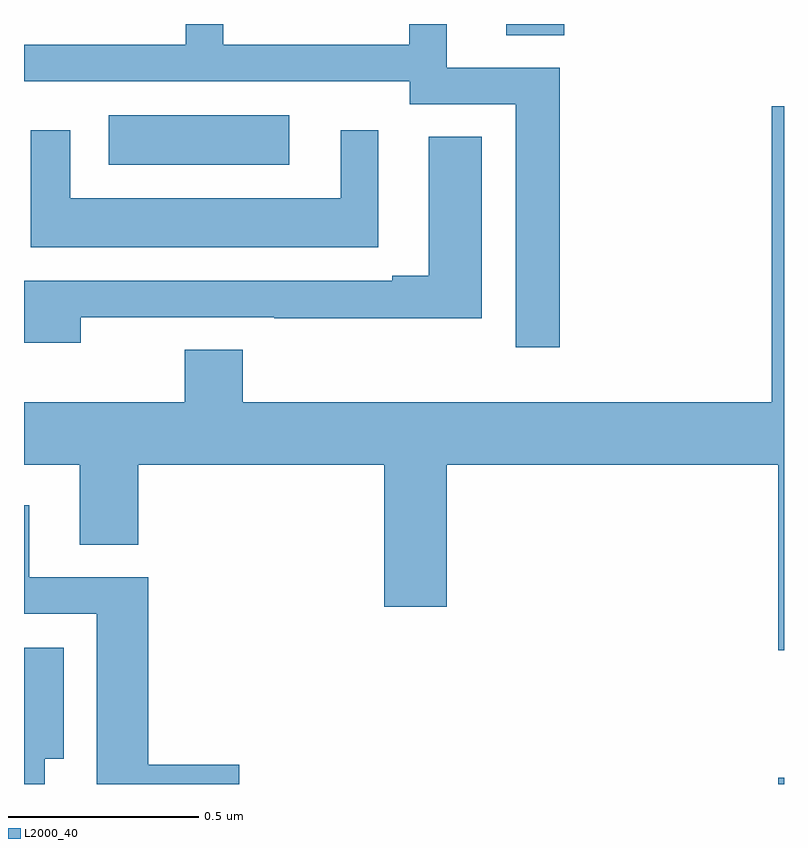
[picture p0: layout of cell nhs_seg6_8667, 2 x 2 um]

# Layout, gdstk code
import gdstk
lib = gdstk.Library(unit=1e-6, precision=1e-09)
def R(c, l, rs):  # rectangles x0, y0, x1, y1
    for r in rs: c.add(gdstk.rectangle(r[:2], r[2:], *l))
def P(c, l, *ps):  # polygons
    for p in ps: c.add(gdstk.Polygon(p, *l))
L2000_40 = (2000, 40)

nhs_seg6_8667 = lib.new_cell('nhs_seg6_8667')
R(nhs_seg6_8667, L2000_40, [(225.985,942.5,226,942.517), (224.223,944.129,224.698,944.26), (225.269,944.47,225.422,944.5)])
P(nhs_seg6_8667, L2000_40, [(225.41,944.385),(225.112,944.385),(225.112,944.5),(225.014,944.5),(225.014,944.445),(224.524,944.445),(224.524,944.5),(224.426,944.5),(224.426,944.445),(224,944.445),(224,944.349),(225.015,944.349),(225.015,944.289),(225.294,944.289),(225.294,943.65),(225.41,943.65)],
  [(226,944.284),(225.968,944.284),(225.968,943.504),(224.576,943.504),(224.576,943.643),(224.423,943.643),(224.423,943.504),(224,943.504),(224,943.34),(224.147,943.34),(224.147,943.129),(224.3,943.129),(224.3,943.34),(224.948,943.34),(224.948,942.966),(225.112,942.966),(225.112,943.34),(225.985,943.34),(225.985,942.852),(226,942.852)],
  [(224.932,944.221),(224.834,944.221),(224.834,944.041),(224.122,944.041),(224.122,944.221),(224.018,944.221),(224.018,943.913),(224.932,943.913)],
  [(224.149,943.728),(224.659,943.728),(224.659,943.726),(225.205,943.726),(225.205,944.203),(225.065,944.203),(225.065,943.837),(224.969,943.837),(224.969,943.824),(224,943.824),(224,943.661),(224.149,943.661)],
  [(224.566,942.551),(224.327,942.551),(224.327,943.044),(224.014,943.044),(224.014,943.234),(224,943.234),(224,942.948),(224.192,942.948),(224.192,942.5),(224.566,942.5)],
  [(224.055,942.566),(224.104,942.566),(224.104,942.859),(224,942.859),(224,942.5),(224.055,942.5)])

lib.write_gds('nhs_seg6_8667.gds')
